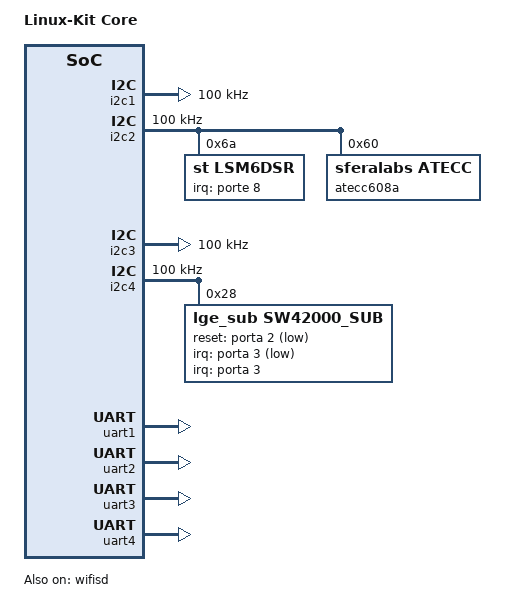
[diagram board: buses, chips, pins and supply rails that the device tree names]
/dts-v1/;
#include "soph_base_riscv.dtsi"
#include "soph_asic_bga.dtsi"
#include "soph_asic_emmc.dtsi"
#include "soph_default_memmap.dtsi"

#include <dt-bindings/gpio/gpio.h>
#include <dt-bindings/interrupt-controller/irq.h>
#include <dt-bindings/input/linux-event-codes.h>

/ {
	model = "Linux-Kit Core";

      wifisd:wifi-sd@4320000 {
            compatible = "cvitek,cv181x-sdio";
            bus-width = <4>;
            reg = <0x0 0x4320000 0x0 0x1000>;
            reg_names = "core_mem";
            src-frequency = <375000000>;
            min-frequency = <400000>; // 400Khz
            //max-frequency = <50000000>; // 50Mhz
            //max-frequency = <45000000>; // 45Mhz
            //max-frequency = <40000000>; // 40Mhz
            //max-frequency = <35000000>; // 35Mhz
            //max-frequency = <30000000>; // 30Mhz
            max-frequency = <25000000>; // 25Mhz
            //max-frequency = <20000000>; // 20Mhz
            //max-frequency = <15000000>; // 15Mhz
            //max-frequency = <10000000>; // 10Mhz
            //max-frequency = <5000000>; // 5Mhz
            64_addressing;
            reset_tx_rx_phy;
            non-removable;
            pll_index = <0x7>;
            pll_reg = <0x300207C>;
            no-mmc;
            no-sd;
            status = "okay";
            interrupts = <38 IRQ_TYPE_LEVEL_HIGH>;
            interrupt-parent = <&plic0>;
      };
};

&wifisd {
	status = "okay";
};

&wifi_pin {
	poweron-gpio = <&portb 22 GPIO_ACTIVE_HIGH>;
	wakeup-gpio = <&porte 0 GPIO_ACTIVE_HIGH>;
};

&mipi_rx {
	snsr-reset = <&porta 18 GPIO_ACTIVE_LOW>, <&porta 20 GPIO_ACTIVE_LOW>;
};

&i2c1 {
	clock-frequency = <100000>;
	status = "okay";
};

&i2c2 {
	clock-frequency = <100000>;
	status = "okay";
	#address-cells = <1>;
	#size-cells = <0>;
    
      lsm6dsr: lsm6dsr@6a {
            compatible = "st,lsm6dsr";
            reg = <0x6a>;
            interrupt-parent = <&porte>;
            interrupts = <8 IRQ_TYPE_EDGE_RISING>;
      };

      atecc608a: atecc608a@60 {
            compatible = "sferalabs,atecc";
            reg = <0x60>;
            status = "okay";
      };
};

&i2c3 {
	clock-frequency = <100000>;
	status = "okay";
	#address-cells = <1>;
	#size-cells = <0>;
};

&i2c4 {
	clock-frequency = <100000>;
	status = "okay";
	#address-cells = <1>;
	#size-cells = <0>;
	
	sw42000_sub: sw42000_sub@28 {
            status = "ok";
            compatible = "lge_sub,sw42000_sub";

            reg = <0x28>;
            interrupt-parent = <&porta>;
            interrupts = <3 IRQ_TYPE_EDGE_FALLING>;
            irqflags = <IRQ_TYPE_EDGE_FALLING>;

            reset-gpio = <&porta 2 GPIO_ACTIVE_LOW>;
            irq-gpio = <&porta 3 GPIO_ACTIVE_LOW>;

            /* Caps */
            max_x = <1080>;
            max_y = <1240>;
            max_pressure = <0xff>;
            max_width_major = <1080>;
            max_width_minor = <1240>;
            max_orientation = <90>;
            max_id = <10>;
            hw_reset_delay = <40>;
            sw_reset_delay = <40>;

            /* role */
            use_lpwg = <1>;
            use_lpwg_test = <1>;
            hide_coordinate = <1>;
            use_activepen_status = <0>;
            use_film_status = <1>;
            use_dex_mode = <1>;

            /* Firmware */
            fw_image = "touch/winglm/V1W39WING_v0.18.img";
            panel_spec = "touch/winglm/wing_sw42000_limit.txt";
            panel_spec_mfts_folder = "touch/winglm/wing_sw42000_limit.txt";

            /* Performance Test */
            use_perf_test = <1>;
            test_delay = <8>;
            test_pressure = <50>;
            test_width = <100>;
            click_test_x = <180>;
            click_test_y = <838>;
            v_drag_test_x = <144>;
            v_drag_test_start_y = <2103>;
            v_drag_test_end_y = <1216>;
            h_drag_test_start_x = <1163>;
            h_drag_test_end_x = <276>;
            h_drag_test_y = <2284>;
    };
};

&mipi_tx {
	reset-gpio = <&porta 0 GPIO_ACTIVE_LOW>;
	pwm-gpio = <&portb 19 GPIO_ACTIVE_HIGH>;
	power-ct-gpio = <&porte 12 GPIO_ACTIVE_HIGH>;
};

&uart1 {
	status = "okay";
};

&uart2 {
	status = "okay";
};

&uart3 {
	status = "okay";
};

&uart4 {
	status = "okay";
};

#if (CVIMMAP_FRAMEBUFFER_SIZE > 0)
&fb_reserved{
	alloc-ranges = <0x0 CVIMMAP_FRAMEBUFFER_ADDR 0 0xfd2000>;
	size = <0x0 0xfd2000>;
};
#endif
